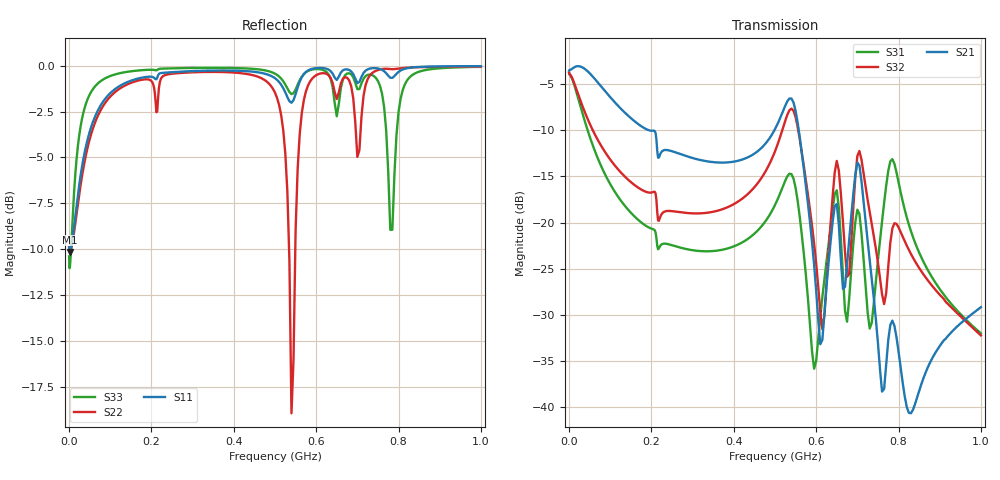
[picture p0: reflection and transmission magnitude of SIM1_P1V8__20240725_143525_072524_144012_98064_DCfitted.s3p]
! SPDX-FileCopyrightText: Copyright (c) Meta Platforms, Inc. and affiliates.
! SPDX-FileCopyrightText: © 2024 Rivos Inc.
!Generated from: C:\SIPIProj\Olympus\Xtract\Run_20240725_143525\SimFile\SIM1_P1V8__20240725_143525.spd
! Port_1::P1V8
! Port_2::P1V8
! Port_3::P1V8
!Layout Workbench Version: 23.1.2.10131.459628  200
!Computer Host Name: YANSHENG-LT
!TouchstoneFormatFlag = 1
! GNDNET GND
! NETSLIST P1V8
! Port 1 = U1-N6 P1V8
! Port 2 = U1-J12 P1V8
! Port 3 = PL8-2 P1V8
#	Hz	S	RI	R	0.1
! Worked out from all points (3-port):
!   625 points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, 100 mHz to 1 GHz, reference 0.1 ohm
!   strongest paths, dB at 100 mHz, 190.5 kHz, 76 MHz, 388 MHz, 1 GHz:
!     S21: -3.5, -3.5, -5.1, -13.5, -29.2
!     S32: -3.7, -3.8, -11.5, -18.3, -32.3
!     S31: -3.7, -3.8, -13.7, -22.8, -32.0
!   lowest |S11| = -10.1 dB at 1.445 MHz (marker M1), VSWR 1.90, Z = 0.0527 + j0.00514 ohm
!   |S11| at or under -10 dB: 228.4 kHz to 4.114 MHz (3.886 MHz wide, 179 % of centre)
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0.1  -0.3195 2.93e-09  0.6688 -5.38e-10  0.6507 -2.19e-09
     0.6688 -5.38e-10  -0.3205 2.55e-09  0.6518 -1.94e-09
     0.6507 -2.19e-09  0.6518 -1.94e-09  -0.3025 4.14e-09
1445440  -0.3079 0.044  0.6732 -0.00577  0.6347 -0.0387
         0.6732 -0.00577  -0.3107 0.0377  0.6375 -0.0324
         0.6347 -0.0387  0.6375 -0.0324  -0.2722 0.0706
9.4e7  0.6411 0.5251  0.3153 -0.3836  0.0384 -0.1664
       0.3153 -0.3836  0.5937 0.5506  0.0967 -0.2079
       0.0384 -0.1664  0.0967 -0.2079  0.8628 0.3512
5.05e8  0.913 0.0588  -0.1092 -0.3203  -0.057 -0.1186
        -0.1092 -0.3203  0.7459 -0.3334  -0.1061 -0.2381
        -0.057 -0.1186  -0.1061 -0.2381  0.9433 -0.0358
5.4e8  0.7819 0.13  -0.4411 -0.1659  -0.1768 -0.048
       -0.4411 -0.1659  -0.0506 -0.101  -0.4016 -0.1069
       -0.1768 -0.048  -0.4016 -0.1069  0.8366 0.0123
5.7e8  0.9216 0.2245  -0.1574 0.1167  -0.0543 0.0403
       -0.1574 0.1167  0.5217 0.6142  -0.1476 0.139
       -0.0543 0.0403  -0.1476 0.139  0.9455 0.0763
6.1e8  0.9747 0.1504  -0.0218 -0.00105  -0.0121 -0.0283
       -0.0218 -0.00105  0.8751 0.3754  -0.0282 0.0164
       -0.0121 -0.0283  -0.0282 0.0164  0.9776 -0.0162
7.05e8  0.891 0.1487  -0.204 0.00889  -0.1109 0.00838
        -0.204 0.00889  0.5223 0.2722  -0.2348 0.0688
        -0.1109 0.00838  -0.2348 0.0688  0.8637 0.0126
8.3e8  0.9786 0.1379  -0.0067 -0.00631  -0.0368 0.0821
       -0.0067 -0.00631  0.9631 0.2242  -0.0269 0.062
       -0.0368 0.0821  -0.0269 0.062  0.8941 0.2796
1e9  0.9929 0.0914  0.00162 -0.0346  -0.00369 0.0247
     0.00162 -0.0346  0.9852 0.1219  -0.00419 0.024
     -0.00369 0.0247  -0.00419 0.024  0.9874 0.1069
